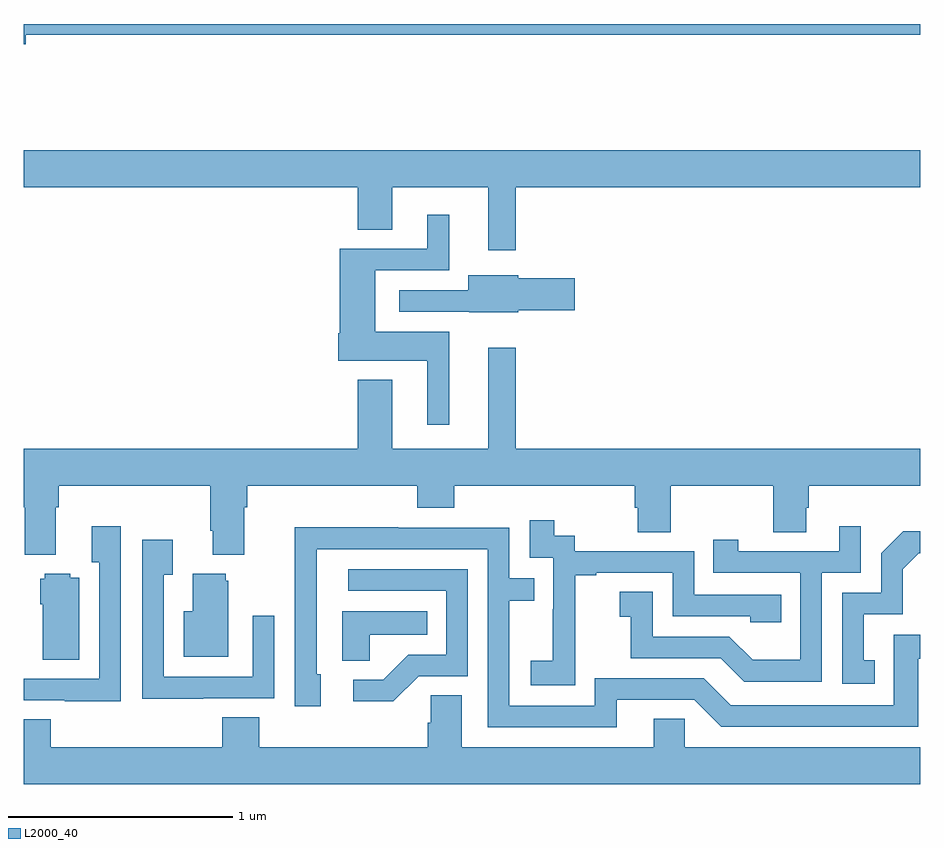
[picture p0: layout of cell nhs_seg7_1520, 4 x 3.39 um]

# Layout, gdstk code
import gdstk
lib = gdstk.Library(unit=1e-6, precision=1e-09)
def P(c, l, *ps):  # polygons
    for p in ps: c.add(gdstk.Polygon(p, *l))
L2000_40 = (2000, 40)

nhs_seg7_1520 = lib.new_cell('nhs_seg7_1520')
P(nhs_seg7_1520, L2000_40, [(215.008,1011.952),(219,1011.952),(219,1012),(215,1012),(215,1011.91),(215.008,1011.91)],
  [(215,1011.272),(216.491,1011.272),(216.491,1011.082),(216.643,1011.082),(216.643,1011.272),(217.073,1011.272),(217.073,1010.991),(217.195,1010.991),(217.195,1011.272),(219,1011.272),(219,1011.436),(215,1011.436)],
  [(216.898,1010.626),(216.568,1010.626),(216.568,1010.901),(216.898,1010.901),(216.898,1011.148),(216.8,1011.148),(216.8,1010.997),(216.41,1010.997),(216.41,1010.619),(216.404,1010.619),(216.404,1010.498),(216.8,1010.498),(216.8,1010.211),(216.898,1010.211)],
  [(217.206,1010.723),(217.459,1010.723),(217.459,1010.865),(217.206,1010.865),(217.206,1010.878),(216.983,1010.878),(216.983,1010.811),(216.675,1010.811),(216.675,1010.715),(216.987,1010.715),(216.987,1010.714),(217.206,1010.714)],
  [(215.143,1009.844),(215.156,1009.844),(215.156,1009.94),(215.831,1009.94),(215.831,1009.738),(215.843,1009.738),(215.843,1009.631),(215.983,1009.631),(215.983,1009.844),(215.996,1009.844),(215.996,1009.94),(216.755,1009.94),(216.755,1009.841),(216.92,1009.841),(216.92,1009.94),(217.727,1009.94),(217.727,1009.842),(217.739,1009.842),(217.739,1009.732),(217.887,1009.732),(217.887,1009.94),(218.344,1009.94),(218.344,1009.732),(218.491,1009.732),(218.491,1009.842),(218.504,1009.842),(218.504,1009.94),(219,1009.94),(219,1010.104),(217.195,1010.104),(217.195,1010.554),(217.073,1010.554),(217.073,1010.104),(216.643,1010.104),(216.643,1010.413),(216.491,1010.413),(216.491,1010.104),(215,1010.104),(215,1009.844),(215.003,1009.844),(215.003,1009.631),(215.143,1009.631)],
  [(217.461,1009.255),(217.46,1009.255),(217.46,1009.539),(217.555,1009.539),(217.555,1009.551),(217.896,1009.551),(217.896,1009.356),(218.241,1009.356),(218.241,1009.329),(218.381,1009.329),(218.381,1009.452),(217.992,1009.452),(217.992,1009.647),(217.458,1009.647),(217.458,1009.716),(217.366,1009.716),(217.366,1009.786),(217.257,1009.786),(217.257,1009.617),(217.362,1009.617),(217.362,1009.388),(217.361,1009.388),(217.361,1009.159),(217.263,1009.159),(217.263,1009.049),(217.461,1009.049)],
  [(215.433,1009.759),(215.303,1009.759),(215.303,1009.598),(215.337,1009.598),(215.337,1009.077),(215,1009.077),(215,1008.981),(215.183,1008.981),(215.183,1008.977),(215.433,1008.977)],
  [(218.562,1009.551),(218.736,1009.551),(218.736,1009.759),(218.639,1009.759),(218.639,1009.647),(218.188,1009.647),(218.188,1009.699),(218.077,1009.699),(218.077,1009.551),(218.466,1009.551),(218.466,1009.162),(218.252,1009.162),(218.148,1009.266),(217.806,1009.266),(217.806,1009.465),(217.659,1009.465),(217.659,1009.355),(217.708,1009.355),(217.708,1009.17),(218.111,1009.17),(218.216,1009.065),(218.562,1009.065)],
  [(217.645,1008.984),(217.992,1008.984),(218.112,1008.864),(218.992,1008.864),(218.992,1009.167),(219,1009.167),(219,1009.275),(218.883,1009.275),(218.883,1008.96),(218.154,1008.96),(218.034,1009.08),(217.548,1009.08),(217.548,1008.957),(217.167,1008.957),(217.167,1009.426),(217.277,1009.426),(217.277,1009.527),(217.167,1009.527),(217.167,1009.752),(216.671,1009.752),(216.671,1009.754),(216.208,1009.754),(216.208,1009.447),(216.21,1009.447),(216.21,1008.954),(216.325,1008.954),(216.325,1009.098),(216.306,1009.098),(216.306,1009.656),(217.071,1009.656),(217.071,1008.861),(217.645,1008.861)],
  [(218.798,1009.161),(218.749,1009.161),(218.749,1009.365),(218.922,1009.365),(218.922,1009.566),(218.994,1009.638),(219,1009.638),(219,1009.736),(218.924,1009.736),(218.826,1009.638),(218.826,1009.461),(218.652,1009.461),(218.652,1009.056),(218.798,1009.056)],
  [(215.801,1008.99),(216.117,1008.99),(216.117,1009.36),(216.021,1009.36),(216.021,1009.086),(215.625,1009.086),(215.625,1009.543),(215.665,1009.543),(215.665,1009.699),(215.529,1009.699),(215.529,1008.989),(215.801,1008.989)],
  [(216.762,1009.089),(216.981,1009.089),(216.981,1009.566),(216.447,1009.566),(216.447,1009.47),(216.885,1009.47),(216.885,1009.185),(216.716,1009.185),(216.605,1009.074),(216.471,1009.074),(216.471,1008.977),(216.649,1008.977)],
  [(215.248,1009.528),(215.208,1009.528),(215.208,1009.546),(215.094,1009.546),(215.094,1009.524),(215.072,1009.524),(215.072,1009.41),(215.084,1009.41),(215.084,1009.162),(215.248,1009.162)],
  [(215.911,1009.515),(215.9,1009.515),(215.9,1009.546),(215.753,1009.546),(215.753,1009.378),(215.714,1009.378),(215.714,1009.175),(215.911,1009.175)],
  [(216.543,1009.274),(216.8,1009.274),(216.8,1009.378),(216.422,1009.378),(216.422,1009.159),(216.543,1009.159)],
  [(219,1008.772),(217.95,1008.772),(217.95,1008.899),(217.811,1008.899),(217.811,1008.772),(216.955,1008.772),(216.955,1009.004),(216.816,1009.004),(216.816,1008.881),(216.803,1008.881),(216.803,1008.772),(216.05,1008.772),(216.05,1008.905),(215.885,1008.905),(215.885,1008.772),(215.12,1008.772),(215.12,1008.896),(215,1008.896),(215,1008.608),(219,1008.608)])

lib.write_gds('nhs_seg7_1520.gds')
